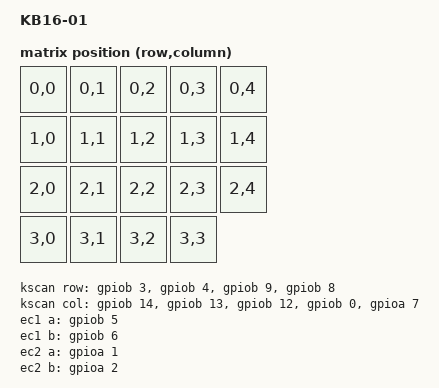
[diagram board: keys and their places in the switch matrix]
/*
 * Copyright (c) 2022 The ZMK Contributors
 * SPDX-License-Identifier: MIT
 */

/dts-v1/;
#include <st/f1/stm32f103Xb.dtsi>
#include <st/f1/stm32f103c(8-b)tx-pinctrl.dtsi>
#include <dt-bindings/led/led.h>
#include <dt-bindings/zmk/matrix_transform.h>

/ {
	model = "KB16-01";
	compatible = "st,stm32f103";

	chosen {
		zephyr,code-partition = &code_partition;
		zephyr,sram = &sram0;
		zephyr,flash = &flash0;
		zephyr,console = &cdc_acm_uart;
		zephyr,display = &oled;
		zmk,kscan = &kscan;
		zmk,matrix_transform = &default_transform;
		zmk,underglow = &led_strip;
	};

	sensors {
		compatible = "zmk,keymap-sensors";
		sensors = <&ec1 &ec2 &ec3>;
	};

	kscan: kscan {
		compatible = "zmk,kscan-gpio-matrix";
		label = "KSCAN";

		diode-direction = "col2row";
		row-gpios = <&gpiob  3 (GPIO_ACTIVE_HIGH | GPIO_PULL_DOWN)>,
		            <&gpiob  4 (GPIO_ACTIVE_HIGH | GPIO_PULL_DOWN)>,
		            <&gpiob  9 (GPIO_ACTIVE_HIGH | GPIO_PULL_DOWN)>,
		            <&gpiob  8 (GPIO_ACTIVE_HIGH | GPIO_PULL_DOWN)>;
		col-gpios = <&gpiob 14 (GPIO_ACTIVE_HIGH | GPIO_PULL_DOWN)>,
		            <&gpiob 13 (GPIO_ACTIVE_HIGH | GPIO_PULL_DOWN)>,
		            <&gpiob 12 (GPIO_ACTIVE_HIGH | GPIO_PULL_DOWN)>,
		            <&gpiob  0 (GPIO_ACTIVE_HIGH | GPIO_PULL_DOWN)>,
		            <&gpioa  7 (GPIO_ACTIVE_HIGH | GPIO_PULL_DOWN)>;
	};

	default_transform: keymap_transform {
		compatible = "zmk,matrix-transform";
		columns = <16>;
		rows = <6>;
		map = <
			RC(0,0) RC(0,1) RC(0,2) RC(0,3) RC(0,4)
			RC(1,0) RC(1,1) RC(1,2) RC(1,3) RC(1,4)
			RC(2,0) RC(2,1) RC(2,2) RC(2,3) RC(2,4)
			RC(3,0) RC(3,1) RC(3,2) RC(3,3)
		>;
	};

	ec1: encoder1 {
		compatible = "alps,ec11";
		label = "EC_1";
		a-gpios = <&gpiob 5 (GPIO_ACTIVE_LOW | GPIO_PULL_UP)>;
		b-gpios = <&gpiob 6 (GPIO_ACTIVE_LOW | GPIO_PULL_UP)>;
		resolution = <4>;
	};

	ec2: encoder2 {
		compatible = "alps,ec11";
		label = "EC_2";
		a-gpios = <&gpioa 1 (GPIO_ACTIVE_LOW | GPIO_PULL_UP)>;
		b-gpios = <&gpioa 2 (GPIO_ACTIVE_LOW | GPIO_PULL_UP)>;
		resolution = <4>;
	};

	ec3: encoder3 {
		compatible = "alps,ec11";
		label = "EC_3";
		a-gpios = <&gpioa 3 (GPIO_ACTIVE_LOW | GPIO_PULL_UP)>;
		b-gpios = <&gpioa 4 (GPIO_ACTIVE_LOW | GPIO_PULL_UP)>;
		resolution = <4>;
	};

	led_strip: ws2812 {
		compatible = "worldsemi,ws2812-pwm";
		label = "WS2812";
		chain-length = <16>;
		color-mapping = <LED_COLOR_ID_GREEN LED_COLOR_ID_RED LED_COLOR_ID_BLUE>;
		pwms = <&pwm1 3 0 PWM_POLARITY_NORMAL>;
		t0h-ns = <200>;
		t1h-ns = <1000>;
		period-ns = <2500>;
		reset-delay = <50>;
	};
};

&clk_hse {
	clock-frequency = <DT_FREQ_M(8)>;
	status = "okay";
};

&pll {
	mul = <9>;
	clocks = <&clk_hse>;
	status = "okay";
};

&rcc {
	clocks = <&pll>;
	clock-frequency = <DT_FREQ_M(72)>;
	ahb-prescaler = <1>;
	apb1-prescaler = <2>;
	apb2-prescaler = <1>;
};

&usb {
	pinctrl-0 = <&usb_dm_pa11 &usb_dp_pa12>;
	pinctrl-names = "default";
	status = "okay";
	cdc_acm_uart: cdc_acm_uart {
		compatible = "zephyr,cdc-acm-uart";
		label = "CDC_ACM_0";
	};
};

&flash0 {
	partitions {
		compatible = "fixed-partitions";
		#address-cells = <1>;
		#size-cells = <1>;

		bootloader_partition: partition@0 {
			label = "bootloader";
			reg = <DT_SIZE_K(0) DT_SIZE_K(4)>;
		};

		code_partition: partition@1000 {
			label = "code_partition";
			reg = <DT_SIZE_K(4) DT_SIZE_K(122)>;
		};

		storage_partition: partition@1f800 {
			label = "storage";
			reg = <DT_SIZE_K(126) DT_SIZE_K(2)>;
		};
	};
};

&timers1 {
	status = "okay";
	pwm1: pwm {
		pinctrl-0 = <&tim1_ch3_pwm_pa10>;
		pinctrl-names = "default";
		status = "okay";
	};
};

&i2c2 {
	pinctrl-0 = <&i2c2_scl_pb10 &i2c2_sda_pb11>;
	pinctrl-names = "default";
	status = "okay";

	oled: ssd1306@3c {
		compatible = "solomon,ssd1306fb";
		reg = <0x3c>;
		label = "DISPLAY";
		width = <128>;
		height = <32>;
		segment-offset = <0>;
		page-offset = <0>;
		display-offset = <0>;
		multiplex-ratio = <31>;
		segment-remap;
		com-invdir;
		com-sequential;
		prechargep = <0x22>;
	};
};
